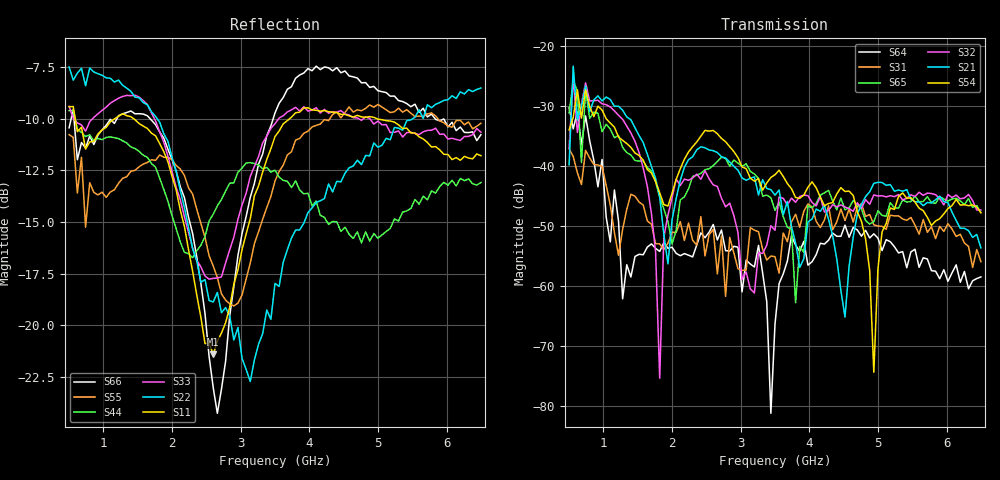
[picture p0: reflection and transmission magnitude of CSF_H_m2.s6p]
!Keysight Technologies,M9804A,MY58100912,A.14.10.03
!Date: Thursday, April 27, 2023 10:28:33
!Correction: S11(C  6-Port  )
!S12(C  6-Port  )
!S13(C  6-Port  )
!S14(C  6-Port  )
!S15(C  6-Port  )
!S16(C  6-Port  )
!S21(C  6-Port  )
!S22(C  6-Port  )
!S23(C  6-Port  )
!S24(C  6-Port  )
!S25(C  6-Port  )
!S26(C  6-Port  )
!S31(C  6-Port  )
!S32(C  6-Port  )
!S33(C  6-Port  )
!S34(C  6-Port  )
!S35(C  6-Port  )
!S36(C  6-Port  )
!S41(C  6-Port  )
!S42(C  6-Port  )
!S43(C  6-Port  )
!S44(C  6-Port  )
!S45(C  6-Port  )
!S46(C  6-Port  )
!S51(C  6-Port  )
!S52(C  6-Port  )
!S53(C  6-Port  )
!S54(C  6-Port  )
!S55(C  6-Port  )
!S56(C  6-Port  )
!S61(C  6-Port  )
!S62(C  6-Port  )
!S63(C  6-Port  )
!S64(C  6-Port  )
!S65(C  6-Port  )
!S66(C  6-Port  )
!S6P File: Measurement: :
# Hz S  RI  R 50
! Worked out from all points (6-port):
!   101 points, 500 MHz to 6.5 GHz, reference 50 ohm
!   strongest paths, dB at 500 MHz, 2 GHz, 3.5 GHz, 5 GHz, 6.5 GHz:
!     S54: -34.0, -44.6, -41.5, -57.1, -47.8
!     S21: -39.8, -49.0, -44.9, -42.7, -53.7
!     S32: -37.0, -45.3, -50.7, -45.0, -47.4
!     S65: -31.1, -53.0, -47.4, -47.5, -47.8
!     S31: -37.2, -51.1, -55.2, -50.0, -56.0
!     S64: -30.3, -53.6, -66.4, -52.1, -58.5
!   lowest |S11| = -21.4 dB at 2.6 GHz (marker M1), VSWR 1.19, Z = 42.4 + j2.18 ohm
!   |S11| at or under -10 dB: 589 MHz to 1.166 GHz (576.6 MHz wide, 65.7 % of centre); 1.44 GHz to 3.713 GHz (2.274 GHz wide, 88.2 % of centre); 4.984 GHz to end of sweep
